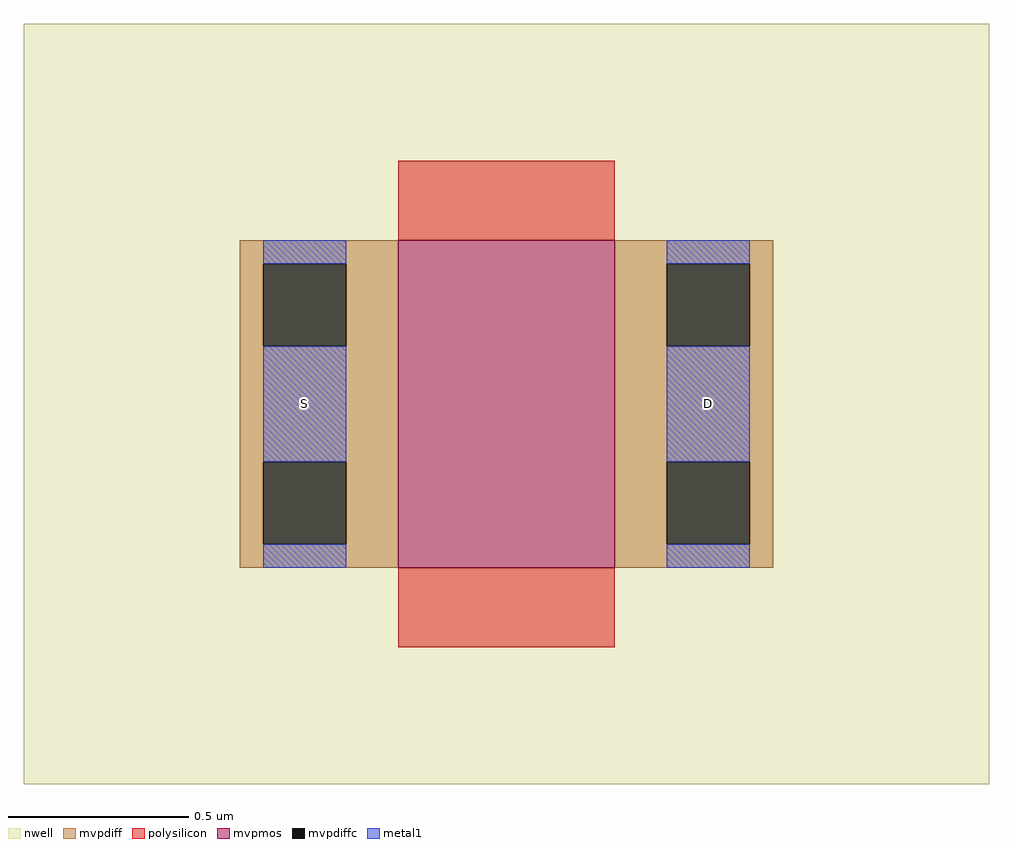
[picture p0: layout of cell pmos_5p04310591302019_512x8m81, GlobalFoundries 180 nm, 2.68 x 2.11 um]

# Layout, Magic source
magic
tech gf180mcuB
magscale 1 10
<< nwell >>
rect -208 -120 328 302
<< mvpmos >>
rect 0 0 120 182
<< mvpdiff >>
rect -88 169 0 182
rect -88 123 -75 169
rect -29 123 0 169
rect -88 59 0 123
rect -88 13 -75 59
rect -29 13 0 59
rect -88 0 0 13
rect 120 169 208 182
rect 120 123 149 169
rect 195 123 208 169
rect 120 59 208 123
rect 120 13 149 59
rect 195 13 208 59
rect 120 0 208 13
<< mvpdiffc >>
rect -75 123 -29 169
rect -75 13 -29 59
rect 149 123 195 169
rect 149 13 195 59
<< polysilicon >>
rect 0 182 120 226
rect 0 -44 120 0
<< metal1 >>
rect -75 169 -29 182
rect -75 59 -29 123
rect -75 0 -29 13
rect 149 169 195 182
rect 149 59 195 123
rect 149 0 195 13
<< labels >>
flabel metal1 s -52 91 -52 91 0 FreeSans 400 0 0 0 S
flabel metal1 s 172 91 172 91 0 FreeSans 400 0 0 0 D
<< properties >>
string GDS_END 147738
string GDS_FILE $PDKPATH/libs.ref/gf180mcu_fd_ip_sram/gds/gf180mcu_fd_ip_sram__sram512x8m8wm1.gds
string GDS_START 146522
<< end >>
